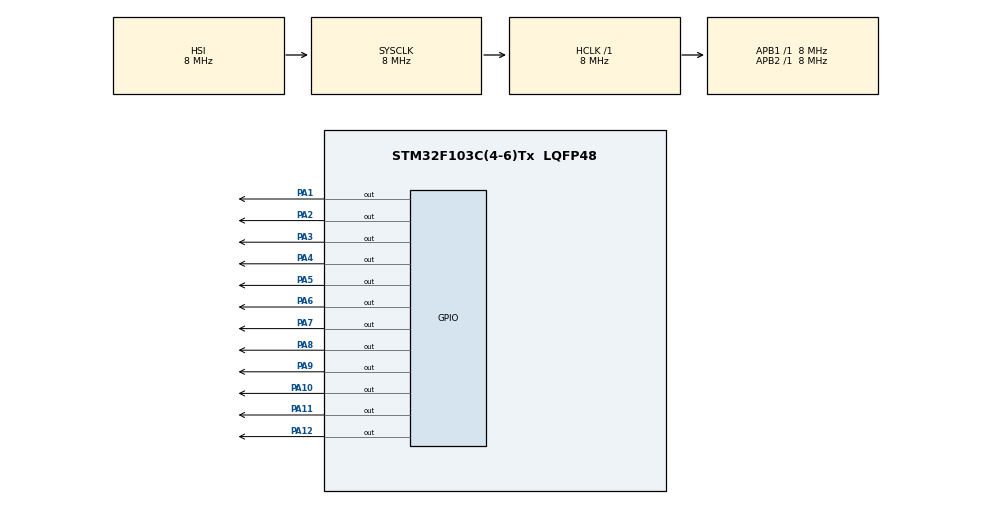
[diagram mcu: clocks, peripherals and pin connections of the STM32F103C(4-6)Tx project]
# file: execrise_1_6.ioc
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Mcu.Family=STM32F1
Mcu.Name=STM32F103C(4-6)Tx
Mcu.Package=LQFP48
NVIC.PriorityGroup=NVIC_PRIORITYGROUP_4
PA1.Signal=GPIO_Output
PA10.Signal=GPIO_Output
PA11.Signal=GPIO_Output
PA12.Signal=GPIO_Output
PA2.Signal=GPIO_Output
PA3.Signal=GPIO_Output
PA4.Signal=GPIO_Output
PA5.Signal=GPIO_Output
PA6.Signal=GPIO_Output
PA7.Signal=GPIO_Output
PA8.Signal=GPIO_Output
PA9.Signal=GPIO_Output
PD0-OSC_IN.Mode=HSE-External-Oscillator
PD0-OSC_IN.Signal=RCC_OSC_IN
PD1-OSC_OUT.Mode=HSE-External-Oscillator
PD1-OSC_OUT.Signal=RCC_OSC_OUT
ProjectManager.HeapSize=0x200
ProjectManager.StackSize=0x400
ProjectManager.TargetToolchain=STM32CubeIDE
RCC.AHBFreq_Value=8000000
RCC.APB1Freq_Value=8000000
RCC.APB1TimFreq_Value=8000000
RCC.APB2Freq_Value=8000000
RCC.APB2TimFreq_Value=8000000
RCC.HCLKFreq_Value=8000000
RCC.PLLMUL=RCC_PLL_MUL4
RCC.SYSCLKFreq_VALUE=8000000
RCC.USBFreq_Value=16000000
VP_SYS_VS_ND.Mode=No_Debug
board=custom

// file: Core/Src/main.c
/* USER CODE BEGIN Header */
/**
  ******************************************************************************
  * @file           : main.c
  * @brief          : Main program body
  ******************************************************************************
  * @attention
  *
  * <h2><center>&copy; Copyright (c) 2021 STMicroelectronics.
  * All rights reserved.</center></h2>
  *
  * This software component is licensed by ST under BSD 3-Clause license,
  * the "License"; You may not use this file except in compliance with the
  * License. You may obtain a copy of the License at:
  *                        opensource.org/licenses/BSD-3-Clause
  *
  ******************************************************************************
  */
/* USER CODE END Header */
#include "main.h"

void SystemClock_Config(void);
static void MX_GPIO_Init(void);

/* USER CODE BEGIN 0 */
void setNumberOnClock(int num){
	switch (num) {
		case 0: HAL_GPIO_WritePin(GPIOA, GPIO_PIN_1, GPIO_PIN_RESET); break;
		case 1: HAL_GPIO_WritePin(GPIOA, GPIO_PIN_2, GPIO_PIN_RESET); break;
		case 2: HAL_GPIO_WritePin(GPIOA, GPIO_PIN_3, GPIO_PIN_RESET); break;
		case 3: HAL_GPIO_WritePin(GPIOA, GPIO_PIN_4, GPIO_PIN_RESET); break;
		case 4: HAL_GPIO_WritePin(GPIOA, GPIO_PIN_5, GPIO_PIN_RESET); break;
		case 5: HAL_GPIO_WritePin(GPIOA, GPIO_PIN_6, GPIO_PIN_RESET); break;
		case 6: HAL_GPIO_WritePin(GPIOA, GPIO_PIN_7, GPIO_PIN_RESET); break;
		case 7: HAL_GPIO_WritePin(GPIOA, GPIO_PIN_8, GPIO_PIN_RESET); break;
		case 8: HAL_GPIO_WritePin(GPIOA, GPIO_PIN_9, GPIO_PIN_RESET); break;
		case 9: HAL_GPIO_WritePin(GPIOA, GPIO_PIN_10, GPIO_PIN_RESET); break;
		case 10: HAL_GPIO_WritePin(GPIOA, GPIO_PIN_11, GPIO_PIN_RESET); break;
		case 11: HAL_GPIO_WritePin(GPIOA, GPIO_PIN_12, GPIO_PIN_RESET); break;
		default:
			break;
	}
}
void clearNumberOnClock(int num){
	switch (num) {
		case 0: HAL_GPIO_WritePin(GPIOA, GPIO_PIN_1, GPIO_PIN_SET); break;
		case 1: HAL_GPIO_WritePin(GPIOA, GPIO_PIN_2, GPIO_PIN_SET); break;
		case 2: HAL_GPIO_WritePin(GPIOA, GPIO_PIN_3, GPIO_PIN_SET); break;
		case 3: HAL_GPIO_WritePin(GPIOA, GPIO_PIN_4, GPIO_PIN_SET); break;
		case 4: HAL_GPIO_WritePin(GPIOA, GPIO_PIN_5, GPIO_PIN_SET); break;
		case 5: HAL_GPIO_WritePin(GPIOA, GPIO_PIN_6, GPIO_PIN_SET); break;
		case 6: HAL_GPIO_WritePin(GPIOA, GPIO_PIN_7, GPIO_PIN_SET); break;
		case 7: HAL_GPIO_WritePin(GPIOA, GPIO_PIN_8, GPIO_PIN_SET); break;
		case 8: HAL_GPIO_WritePin(GPIOA, GPIO_PIN_9, GPIO_PIN_SET); break;
		case 9: HAL_GPIO_WritePin(GPIOA, GPIO_PIN_10, GPIO_PIN_SET); break;
		case 10: HAL_GPIO_WritePin(GPIOA, GPIO_PIN_11, GPIO_PIN_SET); break;
		case 11: HAL_GPIO_WritePin(GPIOA, GPIO_PIN_12, GPIO_PIN_SET); break;
		default:
			break;
	}
}
void clearAllClock(){
	HAL_GPIO_WritePin(GPIOA, GPIO_PIN_1|GPIO_PIN_2|GPIO_PIN_3|GPIO_PIN_4
	                          |GPIO_PIN_5|GPIO_PIN_6|GPIO_PIN_7|GPIO_PIN_8
	                          |GPIO_PIN_9|GPIO_PIN_10|GPIO_PIN_11|GPIO_PIN_12, GPIO_PIN_SET);
}
void clock(int h, int m, int s){
	clearAllClock();
	setNumberOnClock(h);
	setNumberOnClock(m);
	setNumberOnClock(s);
}
/* USER CODE END 0 */

int main(void)
{

  /* MCU Configuration--------------------------------------------------------*/

  /* Reset of all peripherals, Initializes the Flash interface and the Systick. */
  HAL_Init();

  /* Configure the system clock */
  SystemClock_Config();

  /* Initialize all configured peripherals */
  MX_GPIO_Init();

  /* Infinite loop */
  /* USER CODE BEGIN WHILE */
  int hour = 11, min = 45, sec = 0;
  clearAllClock();
//  uint16_t counter = 0x0020;
  while (1)
  {
    /* USER CODE END WHILE */

    /* USER CODE BEGIN 3 */
	  if(sec == 60){
	  		  sec = 0;
	  		  min ++;
	  	  }
	  if(min == 60){
		  min = 0;
		  hour ++;
	  }
	  if(hour == 12){
		  hour = 0;
	  }
	  clock(hour, min/5, sec/5);
	  HAL_Delay(1000);
	  sec+=1;
//	  clearAllClock();
//	  HAL_GPIO_WritePin(GPIOA, counter, GPIO_PIN_RESET);
//	  if(counter == 0x1000){
//		  counter = 0x0001;
//	  }
//	  counter = counter << 1;
//	  HAL_Delay(500);
  }
  /* USER CODE END 3 */
}

void SystemClock_Config(void)
{
  RCC_OscInitTypeDef RCC_OscInitStruct = {0};
  RCC_ClkInitTypeDef RCC_ClkInitStruct = {0};

  /** Initializes the RCC Oscillators according to the specified parameters
  * in the RCC_OscInitTypeDef structure.
  */
  RCC_OscInitStruct.OscillatorType = RCC_OSCILLATORTYPE_HSI;
  RCC_OscInitStruct.HSIState = RCC_HSI_ON;
  RCC_OscInitStruct.HSICalibrationValue = RCC_HSICALIBRATION_DEFAULT;
  RCC_OscInitStruct.PLL.PLLState = RCC_PLL_NONE;
  if (HAL_RCC_OscConfig(&RCC_OscInitStruct) != HAL_OK)
  {
    Error_Handler();
  }
  /** Initializes the CPU, AHB and APB buses clocks
  */
  RCC_ClkInitStruct.ClockType = RCC_CLOCKTYPE_HCLK|RCC_CLOCKTYPE_SYSCLK
                              |RCC_CLOCKTYPE_PCLK1|RCC_CLOCKTYPE_PCLK2;
  RCC_ClkInitStruct.SYSCLKSource = RCC_SYSCLKSOURCE_HSI;
  RCC_ClkInitStruct.AHBCLKDivider = RCC_SYSCLK_DIV1;
  RCC_ClkInitStruct.APB1CLKDivider = RCC_HCLK_DIV1;
  RCC_ClkInitStruct.APB2CLKDivider = RCC_HCLK_DIV1;

  if (HAL_RCC_ClockConfig(&RCC_ClkInitStruct, FLASH_LATENCY_0) != HAL_OK)
  {
    Error_Handler();
  }
}

static void MX_GPIO_Init(void)
{
  GPIO_InitTypeDef GPIO_InitStruct = {0};

  /* GPIO Ports Clock Enable */
  __HAL_RCC_GPIOD_CLK_ENABLE();
  __HAL_RCC_GPIOA_CLK_ENABLE();

  /*Configure GPIO pin Output Level */
  HAL_GPIO_WritePin(GPIOA, GPIO_PIN_1|GPIO_PIN_2|GPIO_PIN_3|GPIO_PIN_4
                          |GPIO_PIN_5|GPIO_PIN_6|GPIO_PIN_7|GPIO_PIN_8
                          |GPIO_PIN_9|GPIO_PIN_10|GPIO_PIN_11|GPIO_PIN_12, GPIO_PIN_RESET);

  /*Configure GPIO pins : PA1 PA2 PA3 PA4
                           PA5 PA6 PA7 PA8
                           PA9 PA10 PA11 PA12 */
  GPIO_InitStruct.Pin = GPIO_PIN_1|GPIO_PIN_2|GPIO_PIN_3|GPIO_PIN_4
                          |GPIO_PIN_5|GPIO_PIN_6|GPIO_PIN_7|GPIO_PIN_8
                          |GPIO_PIN_9|GPIO_PIN_10|GPIO_PIN_11|GPIO_PIN_12;
  GPIO_InitStruct.Mode = GPIO_MODE_OUTPUT_PP;
  GPIO_InitStruct.Pull = GPIO_NOPULL;
  GPIO_InitStruct.Speed = GPIO_SPEED_FREQ_LOW;
  HAL_GPIO_Init(GPIOA, &GPIO_InitStruct);

}

void Error_Handler(void)
{
  __disable_irq();
  while (1)
  {
  }
}

/************************ (C) COPYRIGHT STMicroelectronics *****END OF FILE****/
